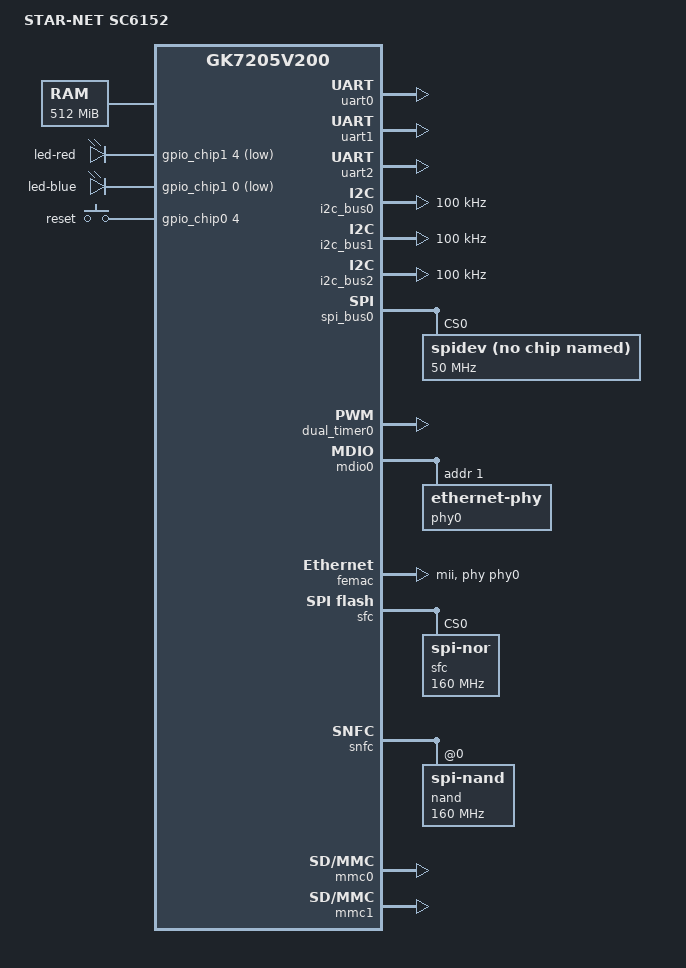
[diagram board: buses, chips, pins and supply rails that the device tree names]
/*
 * Copyright (c) Hunan Goke,Chengdu Goke,Shandong Goke. 2021. All rights reserved.
 */

/dts-v1/;
#include <dt-bindings/gpio/gpio.h>
#include "gk7205v200.dtsi"

/ {
	model = "STAR-NET SC6152";
	compatible = "star-net,sc6152",
		"goke,gk7205v200";

	memory {
		device_type = "memory";
		reg = <0x40000000 0x20000000>;
	};

	status-leds {
		compatible = "gpio-leds";

		led-red {
			gpios = <&gpio_chip1 4 GPIO_ACTIVE_LOW>;
		};

		led-blue {
			gpios = <&gpio_chip1 0 GPIO_ACTIVE_LOW>;
		};
	};

	ipc-control {
		compatible = "ipc, ipc-control";
		#address-cells = <1>;
		#size-cells = <0>;

		camera@0 {
			reg = <0>;
			cis {
				shut-gpios = <&gpio_chip8 7 GPIO_ACTIVE_LOW>;
			};

			cds {
				gpios = <&gpio_chip1 1 GPIO_ACTIVE_LOW>;
			};

			white-led {
				gpios = <&gpio_chip1 5 GPIO_ACTIVE_LOW>;
			};

			ir-cut {
				gpios = <&gpio_chip8 6 GPIO_ACTIVE_LOW>, <&gpio_chip8 5 GPIO_ACTIVE_LOW>;
			};
		};

		keys {
			reset {
				gpios = <&gpio_chip0 4 GPIO_ACTIVE_HIGH>;
			};
		};

		ptz {
			pan-motor {
				input-gpios = <&gpio_chip5 7 GPIO_ACTIVE_LOW>,
					<&gpio_chip5 6 GPIO_ACTIVE_LOW>,
					<&gpio_chip6 2 GPIO_ACTIVE_LOW>,
					<&gpio_chip6 3 GPIO_ACTIVE_LOW>;
			};

			tilt-motor {
				input-gpios = <&gpio_chip6 6 GPIO_ACTIVE_LOW>,
					<&gpio_chip6 7 GPIO_ACTIVE_LOW>,
					<&gpio_chip1 5 GPIO_ACTIVE_LOW>,
					<&gpio_chip5 4 GPIO_ACTIVE_LOW>;
			};
		};

		wifi {
			enable-pins = <&gpio_chip5 5 GPIO_ACTIVE_HIGH>;
		};

		sdcard {
			enable-pins = <&gpio_chip2 0 GPIO_ACTIVE_HIGH>;
		};

		speaker {
			enable-pins = <&gpio_chip0 0 GPIO_ACTIVE_HIGH>;
		};
	};
};

&uart0 {
	status = "okay";
};

&uart1 {
	status = "okay";
};

&uart2 {
	status = "okay";
};

&i2c_bus0 {
	status = "okay";
	clock-frequency = <100000>;
};

&i2c_bus1 {
	status = "okay";
	clock-frequency = <100000>;
};

&i2c_bus2 {
	status = "okay";
	clock-frequency = <100000>;
};

&spi_bus0{
	status = "okay";
	num-cs = <1>;

	spidev@0 {
		compatible = "rohm,dh2228fv";
		reg = <0>;
		pl022,interface = <0>;
		pl022,com-mode = <0>;
		spi-max-frequency = <50000000>;
	};
};

&spi_bus1{
	status = "disabled";
	num-cs = <2>;

	spidev@0 {
		compatible = "rohm,dh2228fv";
		reg = <0>;
		pl022,interface = <0>;
		pl022,com-mode = <0>;
		spi-max-frequency = <50000000>;
	};
	spidev@1 {
		compatible = "rohm,dh2228fv";
		reg = <1>;
		pl022,interface = <0>;
		pl022,com-mode = <0>;
		spi-max-frequency = <50000000>;
	};
};

&dual_timer0 {
	status = "okay";
};

&mdio0 {
	goke,phy-reset-delays-us = <10000 20000 150000>;
	phy0: ethernet-phy@1 {
		reg = <1>;
	};
};

&femac {
	mac-address = [00 00 00 00 00 00];
	phy-mode = "mii";
	phy-handle = <&phy0>;
	status = "okay";
};

&sfc {
	sfc {
		compatible = "jedec,spi-nor";
		reg = <0>;
		spi-max-frequency = <160000000>;
	};
};

&snfc {
	nand {
		compatible = "jedec,spi-nand";
		reg = <0>;
		spi-max-frequency = <160000000>;
	};
};

&mmc0 {
	status = "okay";
};

&mmc1 {
	status = "okay";
};

&gpio_chip0 {
	status = "okay";
};

&gpio_chip1 {
	status = "okay";
};

&gpio_chip2 {
	status = "okay";
};

&gpio_chip4 {
	status = "okay";
};

&gpio_chip5 {
	status = "okay";
};

&gpio_chip6 {
	status = "okay";
};

&gpio_chip7 {
	status = "okay";
};

&gpio_chip8 {
	status = "okay";
};
